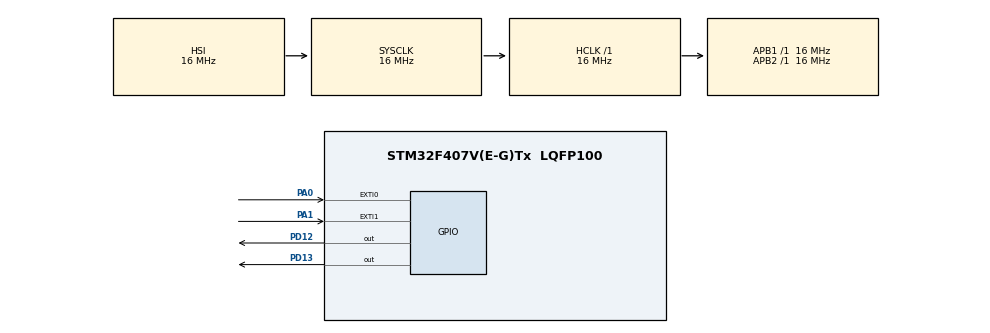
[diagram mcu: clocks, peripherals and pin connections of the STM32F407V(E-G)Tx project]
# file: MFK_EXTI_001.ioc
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Mcu.Family=STM32F4
Mcu.Name=STM32F407V(E-G)Tx
Mcu.Package=LQFP100
NVIC.EXTI0_IRQn=true\:0\:0\:false\:false\:true\:true\:true\:true
NVIC.EXTI1_IRQn=true\:0\:0\:false\:false\:true\:true\:true\:true
NVIC.PriorityGroup=NVIC_PRIORITYGROUP_4
PA0-WKUP.GPIO_ModeDefaultEXTI=GPIO_MODE_IT_RISING_FALLING
PA0-WKUP.GPIO_PuPd=GPIO_PULLDOWN
PA0-WKUP.Signal=GPXTI0
PA1.GPIO_ModeDefaultEXTI=GPIO_MODE_IT_RISING_FALLING
PA1.GPIO_PuPd=GPIO_PULLDOWN
PA1.Signal=GPXTI1
PA13.Mode=Serial_Wire
PA13.Signal=SYS_JTMS-SWDIO
PA14.Mode=Serial_Wire
PA14.Signal=SYS_JTCK-SWCLK
PD12.Signal=GPIO_Output
PD13.Signal=GPIO_Output
PH0-OSC_IN.Mode=HSE-External-Clock-Source
PH0-OSC_IN.Signal=RCC_OSC_IN
PH1-OSC_OUT.Mode=HSE-External-Clock-Source
PH1-OSC_OUT.Signal=RCC_OSC_OUT
ProjectManager.HeapSize=0x200
ProjectManager.StackSize=0x400
ProjectManager.TargetToolchain=STM32CubeIDE
RCC.AHBFreq_Value=16000000
RCC.APB1Freq_Value=16000000
RCC.APB2Freq_Value=16000000
RCC.CortexFreq_Value=16000000
RCC.HSE_VALUE=25000000
RCC.HSI_VALUE=16000000
RCC.LSE_VALUE=32768
RCC.SYSCLKFreq_VALUE=16000000
RCC.VCOOutputFreq_Value=192000000
board=custom

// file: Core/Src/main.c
/* USER CODE BEGIN Header */
/**
  ******************************************************************************
  * @file           : main.c
  * @brief          : Main program body
  ******************************************************************************
  * @attention
  *
  * Copyright (c) 2023 STMicroelectronics.
  * All rights reserved.
  *
  * This software is licensed under terms that can be found in the LICENSE file
  * in the root directory of this software component.
  * If no LICENSE file comes with this software, it is provided AS-IS.
  *
  ******************************************************************************
  */
/* USER CODE END Header */
#include "main.h"

/* USER CODE BEGIN Includes */

GPIO_InitTypeDef GPIO_InitStruct = {0};

/* USER CODE END Includes */

/* USER CODE BEGIN PTD */
void EXTI_Init(void);
void GPIO_Init(void);
/* USER CODE END PTD */

/* USER CODE BEGIN PM */

void EXTI_Init(void)
{
	__HAL_RCC_GPIOA_CLK_ENABLE();

	GPIO_InitStruct.Pin = GPIO_PIN_0;
	GPIO_InitStruct.Mode = GPIO_MODE_IT_RISING_FALLING;
	GPIO_InitStruct.Pull = GPIO_PULLDOWN;
	GPIO_InitStruct.Speed = GPIO_SPEED_FREQ_HIGH;

	HAL_GPIO_Init(GPIOA, &GPIO_InitStruct);

	HAL_NVIC_SetPriority(EXTI0_IRQn, 0, 0);
	HAL_NVIC_EnableIRQ(EXTI0_IRQn);
}

void GPIO_Init(void)
{
	__HAL_RCC_GPIOH_CLK_ENABLE();
	__HAL_RCC_GPIOD_CLK_ENABLE();

	GPIO_InitStruct.Pin = GPIO_PIN_12|GPIO_PIN_13;
	GPIO_InitStruct.Mode = GPIO_MODE_OUTPUT_PP;
	GPIO_InitStruct.Pull = GPIO_NOPULL;
	GPIO_InitStruct.Speed = GPIO_SPEED_FREQ_LOW;
	HAL_GPIO_Init(GPIOD, &GPIO_InitStruct);
}

/* USER CODE END PM */

void SystemClock_Config(void);
static void MX_GPIO_Init(void);

int main(void)
{

  /* MCU Configuration--------------------------------------------------------*/

  /* Reset of all peripherals, Initializes the Flash interface and the Systick. */
  HAL_Init();

  /* Configure the system clock */
  SystemClock_Config();

  /* Initialize all configured peripherals */
  MX_GPIO_Init();
  /* USER CODE BEGIN 2 */
  	EXTI_Init();
    GPIO_Init();
  /* USER CODE END 2 */

  /* Infinite loop */
  while (1)
  {

    /* USER CODE BEGIN 3 */
	  HAL_GPIO_WritePin(GPIOD,GPIO_PIN_13,1);
	  HAL_Delay(250);
	  HAL_GPIO_WritePin(GPIOD,GPIO_PIN_13,0);
	  HAL_Delay(250);
  }
  /* USER CODE END 3 */
}

void SystemClock_Config(void)
{
  RCC_OscInitTypeDef RCC_OscInitStruct = {0};
  RCC_ClkInitTypeDef RCC_ClkInitStruct = {0};

  /** Configure the main internal regulator output voltage
  */
  __HAL_RCC_PWR_CLK_ENABLE();
  __HAL_PWR_VOLTAGESCALING_CONFIG(PWR_REGULATOR_VOLTAGE_SCALE1);

  /** Initializes the RCC Oscillators according to the specified parameters
  * in the RCC_OscInitTypeDef structure.
  */
  RCC_OscInitStruct.OscillatorType = RCC_OSCILLATORTYPE_HSI;
  RCC_OscInitStruct.HSIState = RCC_HSI_ON;
  RCC_OscInitStruct.HSICalibrationValue = RCC_HSICALIBRATION_DEFAULT;
  RCC_OscInitStruct.PLL.PLLState = RCC_PLL_NONE;
  if (HAL_RCC_OscConfig(&RCC_OscInitStruct) != HAL_OK)
  {
    Error_Handler();
  }

  /** Initializes the CPU, AHB and APB buses clocks
  */
  RCC_ClkInitStruct.ClockType = RCC_CLOCKTYPE_HCLK|RCC_CLOCKTYPE_SYSCLK
                              |RCC_CLOCKTYPE_PCLK1|RCC_CLOCKTYPE_PCLK2;
  RCC_ClkInitStruct.SYSCLKSource = RCC_SYSCLKSOURCE_HSI;
  RCC_ClkInitStruct.AHBCLKDivider = RCC_SYSCLK_DIV1;
  RCC_ClkInitStruct.APB1CLKDivider = RCC_HCLK_DIV1;
  RCC_ClkInitStruct.APB2CLKDivider = RCC_HCLK_DIV1;

  if (HAL_RCC_ClockConfig(&RCC_ClkInitStruct, FLASH_LATENCY_0) != HAL_OK)
  {
    Error_Handler();
  }
}

static void MX_GPIO_Init(void)
{
  GPIO_InitTypeDef GPIO_InitStruct = {0};

  /* GPIO Ports Clock Enable */
  __HAL_RCC_GPIOH_CLK_ENABLE();
  __HAL_RCC_GPIOA_CLK_ENABLE();
  __HAL_RCC_GPIOD_CLK_ENABLE();

  /*Configure GPIO pin Output Level */
  HAL_GPIO_WritePin(GPIOD, GPIO_PIN_12|GPIO_PIN_13, GPIO_PIN_RESET);

  /*Configure GPIO pins : PA0 PA1 */
  GPIO_InitStruct.Pin = GPIO_PIN_0|GPIO_PIN_1;
  GPIO_InitStruct.Mode = GPIO_MODE_IT_RISING_FALLING;
  GPIO_InitStruct.Pull = GPIO_PULLDOWN;
  HAL_GPIO_Init(GPIOA, &GPIO_InitStruct);

  /*Configure GPIO pins : PD12 PD13 */
  GPIO_InitStruct.Pin = GPIO_PIN_12|GPIO_PIN_13;
  GPIO_InitStruct.Mode = GPIO_MODE_OUTPUT_PP;
  GPIO_InitStruct.Pull = GPIO_NOPULL;
  GPIO_InitStruct.Speed = GPIO_SPEED_FREQ_LOW;
  HAL_GPIO_Init(GPIOD, &GPIO_InitStruct);

  /* EXTI interrupt init*/
  HAL_NVIC_SetPriority(EXTI0_IRQn, 0, 0);
  HAL_NVIC_EnableIRQ(EXTI0_IRQn);

  HAL_NVIC_SetPriority(EXTI1_IRQn, 0, 0);
  HAL_NVIC_EnableIRQ(EXTI1_IRQn);

}

void Error_Handler(void)
{
  __disable_irq();
  while (1)
  {
  }
}
